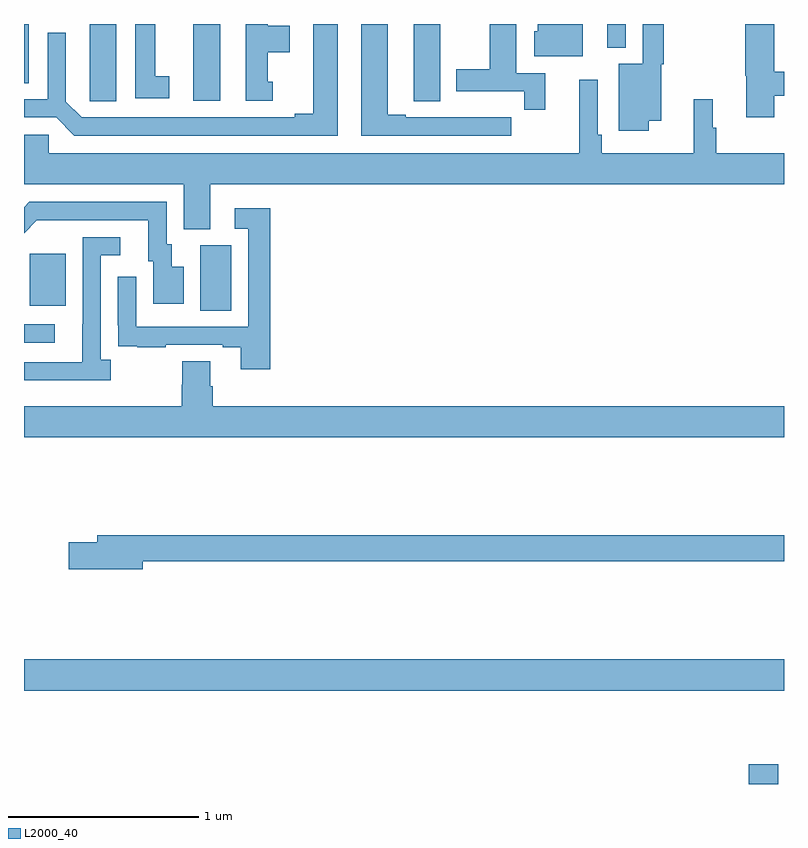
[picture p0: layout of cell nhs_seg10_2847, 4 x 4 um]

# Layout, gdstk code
import gdstk
lib = gdstk.Library(unit=1e-6, precision=1e-09)
def R(c, l, rs):  # rectangles x0, y0, x1, y1
    for r in rs: c.add(gdstk.rectangle(r[:2], r[2:], *l))
def P(c, l, *ps):  # polygons
    for p in ps: c.add(gdstk.Polygon(p, *l))
L2000_40 = (2000, 40)

nhs_seg10_2847 = lib.new_cell('nhs_seg10_2847')
R(nhs_seg10_2847, L2000_40, [(268.814,1290.5,268.969,1290.604), (265,1290.992,269,1291.156), (265,1292.823,265.162,1292.919), (265.928,1292.992,266.092,1293.336), (265.031,1293.017,265.219,1293.292), (265.892,1294.095,266.032,1294.5), (265,1294.189,265.024,1294.5), (268.07,1294.376,268.167,1294.5)])
P(nhs_seg10_2847, L2000_40, [(267.565,1294.008),(267.452,1294.008),(267.452,1294.009),(267.286,1294.009),(267.286,1294.008),(267.01,1294.008),(267.01,1294.023),(266.914,1294.023),(266.914,1294.5),(266.774,1294.5),(266.774,1293.912),(267.565,1293.912)],
  [(265.765,1294.226),(265.69,1294.226),(265.69,1294.5),(265.586,1294.5),(265.586,1294.11),(265.765,1294.11)],
  [(265.486,1294.5),(265.346,1294.5),(265.346,1294.201),(265.347,1294.201),(265.347,1294.093),(265.486,1294.093)],
  [(267.743,1294.242),(267.592,1294.242),(267.592,1294.5),(267.452,1294.5),(267.452,1294.263),(267.275,1294.263),(267.275,1294.146),(267.634,1294.146),(267.634,1294.05),(267.743,1294.05)],
  [(266.65,1294.5),(266.522,1294.5),(266.522,1294.028),(266.426,1294.028),(266.426,1294.008),(265.305,1294.008),(265.221,1294.092),(265.221,1294.453),(265.125,1294.453),(265.125,1294.104),(265,1294.104),(265,1294.008),(265.169,1294.008),(265.265,1293.912),(266.65,1293.912)],
  [(268.949,1294.122),(269,1294.122),(269,1294.25),(268.949,1294.25),(268.949,1294.5),(268.795,1294.5),(268.795,1294.227),(268.802,1294.227),(268.802,1294.008),(268.949,1294.008)],
  [(268.288,1293.992),(268.354,1293.992),(268.354,1294.287),(268.366,1294.287),(268.366,1294.5),(268.257,1294.5),(268.257,1294.291),(268.13,1294.291),(268.13,1293.939),(268.288,1293.939)],
  [(266.308,1294.197),(266.284,1294.197),(266.284,1294.352),(266.398,1294.352),(266.398,1294.492),(266.284,1294.492),(266.284,1294.5),(266.168,1294.5),(266.168,1294.095),(266.308,1294.095)],
  [(267.94,1294.5),(267.704,1294.5),(267.704,1294.461),(267.686,1294.461),(267.686,1294.331),(267.94,1294.331)],
  [(267.19,1294.5),(267.05,1294.5),(267.05,1294.201),(267.051,1294.201),(267.051,1294.093),(267.19,1294.093)],
  [(265.981,1293.656),(269,1293.656),(269,1293.82),(268.643,1293.82),(268.643,1293.954),(268.624,1293.954),(268.624,1294.105),(268.525,1294.105),(268.525,1293.82),(268.04,1293.82),(268.04,1293.916),(268.02,1293.916),(268.02,1294.207),(267.923,1294.207),(267.923,1293.82),(265.131,1293.82),(265.131,1293.918),(265,1293.918),(265,1293.656),(265.841,1293.656),(265.841,1293.421),(265.981,1293.421)],
  [(265.84,1293.223),(265.777,1293.223),(265.777,1293.342),(265.752,1293.342),(265.752,1293.564),(265.028,1293.564),(265,1293.536),(265,1293.4),(265.068,1293.468),(265.655,1293.468),(265.655,1293.252),(265.679,1293.252),(265.679,1293.027),(265.84,1293.027)],
  [(266.297,1293.529),(266.109,1293.529),(266.109,1293.423),(266.181,1293.423),(266.181,1292.907),(265.59,1292.907),(265.59,1293.169),(265.494,1293.169),(265.494,1292.914),(265.495,1292.914),(265.495,1292.805),(265.597,1292.805),(265.597,1292.799),(265.745,1292.799),(265.745,1292.811),(266.045,1292.811),(266.045,1292.799),(266.141,1292.799),(266.141,1292.682),(266.297,1292.682)],
  [(265.456,1292.734),(265.404,1292.734),(265.404,1293.282),(265.507,1293.282),(265.507,1293.378),(265.308,1293.378),(265.308,1292.921),(265.307,1292.921),(265.307,1292.721),(265,1292.721),(265,1292.624),(265.456,1292.624)],
  [(269,1292.488),(265.994,1292.488),(265.994,1292.594),(265.981,1292.594),(265.981,1292.726),(265.834,1292.726),(265.834,1292.601),(265.829,1292.601),(265.829,1292.488),(265,1292.488),(265,1292.324),(269,1292.324)],
  [(265.624,1291.672),(269,1291.672),(269,1291.808),(265.385,1291.808),(265.385,1291.772),(265.236,1291.772),(265.236,1291.63),(265.624,1291.63)])

lib.write_gds('nhs_seg10_2847.gds')
